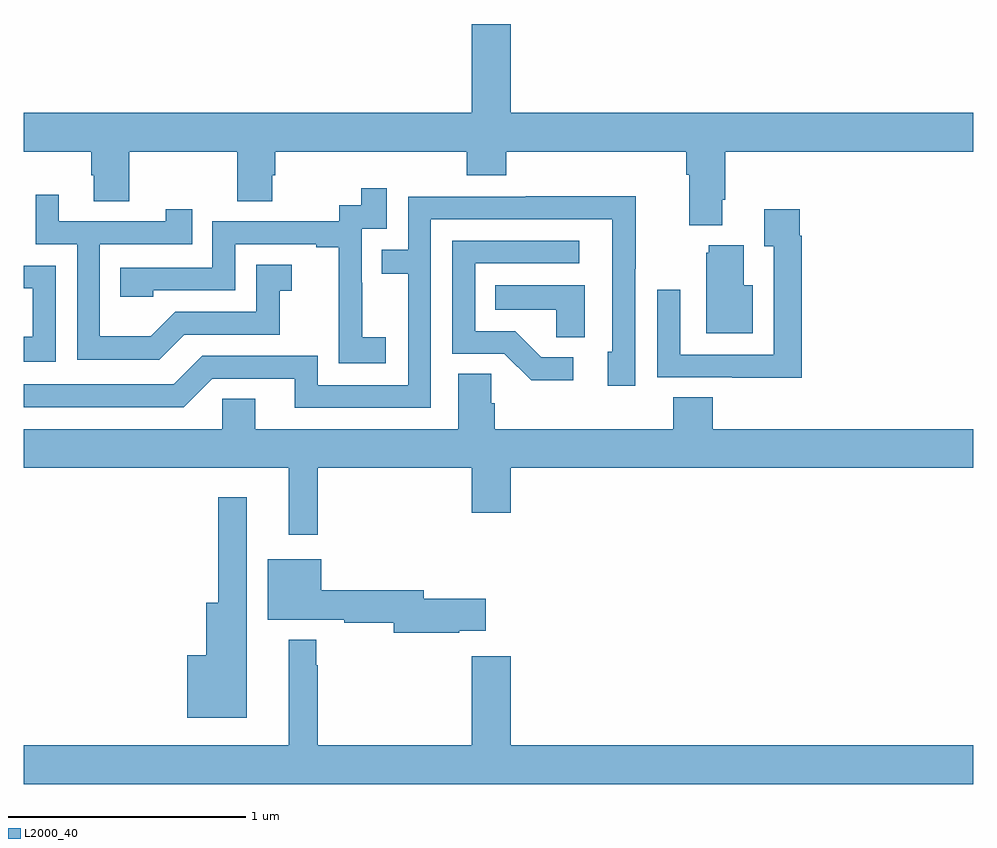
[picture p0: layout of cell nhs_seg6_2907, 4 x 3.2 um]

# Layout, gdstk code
import gdstk
lib = gdstk.Library(unit=1e-6, precision=1e-09)
def P(c, l, *ps):  # polygons
    for p in ps: c.add(gdstk.Polygon(p, *l))
L2000_40 = (2000, 40)

nhs_seg6_2907 = lib.new_cell('nhs_seg6_2907')
P(nhs_seg6_2907, L2000_40, [(285.943,924.49),(285.956,924.49),(285.956,924.692),(287,924.692),(287,924.856),(285.052,924.856),(285.052,925.231),(284.888,925.231),(284.888,924.856),(283,924.856),(283,924.692),(283.283,924.692),(283.283,924.594),(283.295,924.594),(283.295,924.484),(283.443,924.484),(283.443,924.692),(283.9,924.692),(283.9,924.484),(284.047,924.484),(284.047,924.594),(284.06,924.594),(284.06,924.692),(284.867,924.692),(284.867,924.593),(285.032,924.593),(285.032,924.692),(285.791,924.692),(285.791,924.596),(285.803,924.596),(285.803,924.383),(285.943,924.383)],
  [(284.524,923.911),(284.426,923.911),(284.426,924.14),(284.424,924.14),(284.424,924.369),(284.529,924.369),(284.529,924.538),(284.421,924.538),(284.421,924.468),(284.328,924.468),(284.328,924.399),(283.794,924.399),(283.794,924.204),(283.405,924.204),(283.405,924.081),(283.545,924.081),(283.545,924.108),(283.89,924.108),(283.89,924.303),(284.231,924.303),(284.231,924.291),(284.327,924.291),(284.327,924.007),(284.326,924.007),(284.326,923.801),(284.524,923.801)],
  [(283.675,923.922),(284.079,923.922),(284.079,924.107),(284.128,924.107),(284.128,924.217),(283.98,924.217),(283.98,924.018),(283.638,924.018),(283.534,923.914),(283.32,923.914),(283.32,924.303),(283.709,924.303),(283.709,924.451),(283.598,924.451),(283.598,924.399),(283.147,924.399),(283.147,924.511),(283.05,924.511),(283.05,924.303),(283.224,924.303),(283.224,923.817),(283.57,923.817)],
  [(284.715,924.408),(285.48,924.408),(285.48,923.85),(285.461,923.85),(285.461,923.706),(285.576,923.706),(285.576,924.199),(285.579,924.199),(285.579,924.506),(285.115,924.506),(285.115,924.504),(284.619,924.504),(284.619,924.279),(284.509,924.279),(284.509,924.178),(284.619,924.178),(284.619,923.709),(284.238,923.709),(284.238,923.832),(283.752,923.832),(283.632,923.712),(283,923.712),(283,923.616),(283.674,923.616),(283.794,923.736),(284.141,923.736),(284.141,923.613),(284.715,923.613)],
  [(286.277,924.338),(286.27,924.338),(286.27,924.451),(286.121,924.451),(286.121,924.295),(286.161,924.295),(286.161,923.838),(285.765,923.838),(285.765,924.112),(285.669,924.112),(285.669,923.742),(285.985,923.742),(285.985,923.741),(286.277,923.741)],
  [(285.316,923.826),(285.181,923.826),(285.07,923.937),(284.901,923.937),(284.901,924.222),(285.34,924.222),(285.34,924.318),(284.805,924.318),(284.805,923.841),(285.024,923.841),(285.137,923.729),(285.316,923.729)],
  [(286.072,924.13),(286.033,924.13),(286.033,924.298),(285.887,924.298),(285.887,924.267),(285.875,924.267),(285.875,923.927),(286.072,923.927)],
  [(283.134,924.213),(283,924.213),(283,924.117),(283.037,924.117),(283.037,923.913),(283,923.913),(283,923.808),(283.134,923.808)],
  [(285.364,924.13),(284.986,924.13),(284.986,924.026),(285.243,924.026),(285.243,923.911),(285.364,923.911)],
  [(284.239,923.36),(284.888,923.36),(284.888,923.172),(285.052,923.172),(285.052,923.36),(287,923.36),(287,923.524),(285.902,923.524),(285.902,923.657),(285.737,923.657),(285.737,923.524),(284.984,923.524),(284.984,923.633),(284.97,923.633),(284.97,923.756),(284.831,923.756),(284.831,923.524),(283.975,923.524),(283.975,923.651),(283.836,923.651),(283.836,923.524),(283,923.524),(283,923.36),(284.117,923.36),(284.117,923.079),(284.239,923.079)],
  [(283.939,923.236),(283.818,923.236),(283.818,922.792),(283.769,922.792),(283.769,922.57),(283.688,922.57),(283.688,922.307),(283.939,922.307)],
  [(284.834,922.673),(284.947,922.673),(284.947,922.808),(284.686,922.808),(284.686,922.844),(284.254,922.844),(284.254,922.975),(284.027,922.975),(284.027,922.721),(284.35,922.721),(284.35,922.708),(284.558,922.708),(284.558,922.666),(284.834,922.666)],
  [(287,922.192),(285.052,922.192),(285.052,922.567),(284.888,922.567),(284.888,922.192),(284.239,922.192),(284.239,922.529),(284.232,922.529),(284.232,922.636),(284.117,922.636),(284.117,922.192),(283,922.192),(283,922.028),(287,922.028)])

lib.write_gds('nhs_seg6_2907.gds')
